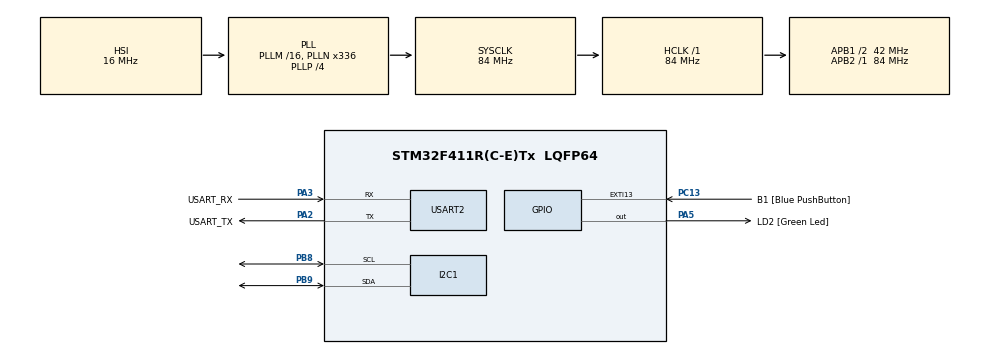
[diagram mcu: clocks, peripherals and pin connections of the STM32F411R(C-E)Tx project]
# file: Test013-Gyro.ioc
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Mcu.Family=STM32F4
Mcu.Name=STM32F411R(C-E)Tx
Mcu.Package=LQFP64
NVIC.PriorityGroup=NVIC_PRIORITYGROUP_0
PA13.GPIO_Label=TMS
PA13.Mode=Serial_Wire
PA13.Signal=SYS_JTMS-SWDIO
PA14.GPIO_Label=TCK
PA14.Mode=Serial_Wire
PA14.Signal=SYS_JTCK-SWCLK
PA2.GPIO_Label=USART_TX
PA2.Mode=Asynchronous
PA2.Signal=USART2_TX
PA3.GPIO_Label=USART_RX
PA3.Mode=Asynchronous
PA3.Signal=USART2_RX
PA5.GPIO_Label=LD2 [Green Led]
PA5.Signal=GPIO_Output
PB3.GPIO_Label=SWO
PB3.Signal=SYS_JTDO-SWO
PB8.Mode=I2C
PB8.Signal=I2C1_SCL
PB9.Mode=I2C
PB9.Signal=I2C1_SDA
PC13-ANTI_TAMP.GPIO_Label=B1 [Blue PushButton]
PC13-ANTI_TAMP.GPIO_ModeDefaultEXTI=GPIO_MODE_IT_FALLING
PC13-ANTI_TAMP.Signal=GPXTI13
PC14-OSC32_IN.Mode=LSE-External-Oscillator
PC14-OSC32_IN.Signal=RCC_OSC32_IN
PC15-OSC32_OUT.Mode=LSE-External-Oscillator
PC15-OSC32_OUT.Signal=RCC_OSC32_OUT
PH0\ -\ OSC_IN.Mode=HSE-External-Clock-Source
PH0\ -\ OSC_IN.Signal=RCC_OSC_IN
PH1\ -\ OSC_OUT.Mode=HSE-External-Clock-Source
PH1\ -\ OSC_OUT.Signal=RCC_OSC_OUT
ProjectManager.HeapSize=0x200
ProjectManager.StackSize=0x400
ProjectManager.TargetToolchain=STM32CubeIDE
RCC.48MHZClocksFreq_Value=84000000
RCC.AHBFreq_Value=84000000
RCC.APB1CLKDivider=RCC_HCLK_DIV2
RCC.APB1Freq_Value=42000000
RCC.APB1TimFreq_Value=84000000
RCC.APB2Freq_Value=84000000
RCC.APB2TimFreq_Value=84000000
RCC.CortexFreq_Value=84000000
RCC.FLatency-AdvancedSettings=FLASH_LATENCY_2
RCC.HCLKFreq_Value=84000000
RCC.HSE_VALUE=8000000
RCC.HSI_VALUE=16000000
RCC.PLLN=336
RCC.PLLP=RCC_PLLP_DIV4
RCC.SYSCLKFreq_VALUE=84000000
RCC.SYSCLKSource=RCC_SYSCLKSOURCE_PLLCLK
RCC.VCOOutputFreq_Value=336000000
USART2.VirtualMode=VM_ASYNC
board=NUCLEO-F411RE

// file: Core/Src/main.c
/* USER CODE BEGIN Header */
/**
  ******************************************************************************
  * @file           : main.c
  * @brief          : Main program body
  ******************************************************************************
  * @attention
  *
  * Copyright (c) 2025 STMicroelectronics.
  * All rights reserved.
  *
  * This software is licensed under terms that can be found in the LICENSE file
  * in the root directory of this software component.
  * If no LICENSE file comes with this software, it is provided AS-IS.
  *
  ******************************************************************************
  */
/* USER CODE END Header */
#include "main.h"

I2C_HandleTypeDef hi2c1;

UART_HandleTypeDef huart2;

void SystemClock_Config(void);
static void MX_GPIO_Init(void);
static void MX_USART2_UART_Init(void);
static void MX_I2C1_Init(void);

int main(void)
{

  /* MCU Configuration--------------------------------------------------------*/

  /* Reset of all peripherals, Initializes the Flash interface and the Systick. */
  HAL_Init();

  /* Configure the system clock */
  SystemClock_Config();

  /* Initialize all configured peripherals */
  MX_GPIO_Init();
  MX_USART2_UART_Init();
  MX_I2C1_Init();
  /* USER CODE BEGIN 2 */

  uint16_t GY6500 = 0xD0;
  unsigned char whoami;
  ProgramStart("Gyroscope GY-6500 Test");
  i2c_init(&hi2c1);
  i2c_scan(); // GY-6500 : 0xD0
//HAL_I2C_Mem_Read(I2C_HandleTypeDef *, DevAddress, MemAddress, MemAddSize, *pData, Size, Timeout)
  HAL_I2C_Mem_Read(&hi2c1, GY6500, 0x75, 1, &whoami, 1, 1000);
  printf("GY-6500 (WHO_AM_I) info : %02x\r\n", whoami);
  HAL_I2C_Mem_Read(&hi2c1, 0x4e, 0x75, 1, &whoami, 1, 1000);
  printf("LCD1602 (WHO_AM_I) info : %02x\r\n", whoami);

  // MPU-6500 Initial Config
  unsigned char Data;
  Data = 0; // PWR_MGMT_1(0x6B) = 0
  HAL_I2C_Mem_Write(&hi2c1, GY6500, 0x6B, 1, &Data, 1, 1000);
  Data = 7; // SMPLRT_DIV (0x19) = 7,  1 KHz sampling rate
  HAL_I2C_Mem_Write(&hi2c1, GY6500, 0x19, 1, &Data, 1, 1000);
  Data = 0; // CONFIG(0x1A) = 0
  HAL_I2C_Mem_Write(&hi2c1, GY6500, 0x1A, 1, &Data, 1, 1000);
  Data = 0x18; // GYRO_CONFIG(0x1B) = 0
  HAL_I2C_Mem_Write(&hi2c1, GY6500, 0x1B, 1, &Data, 1, 1000);
  Data = 0; // ACCEL_CONFIG(0x1C) = 0
  HAL_I2C_Mem_Write(&hi2c1, GY6500, 0x1C, 1, &Data, 1, 1000);

  /* USER CODE END 2 */

  /* Infinite loop */
  /* USER CODE BEGIN WHILE */
  unsigned char acc[6];
  while (1)
  {
	// ACCEL Data READ : 0x3B  XH-XL-YH-YL-ZH-ZL
	  HAL_I2C_Mem_Read(&hi2c1, GY6500, 0x3B, 1, acc, 6, 1000);
	  int acc_x = acc[0] * 256 + acc[1];
	  int acc_y = acc[2] * 256 + acc[3];
	  int acc_z = acc[4] * 256 + acc[5];

	  printf("accX:%d  accY:%d  accZ:%d\r\n",acc_x,acc_y,acc_z);
	  HAL_Delay(100);

    /* USER CODE END WHILE */

  }
}

void SystemClock_Config(void)
{
  RCC_OscInitTypeDef RCC_OscInitStruct = {0};
  RCC_ClkInitTypeDef RCC_ClkInitStruct = {0};

  /** Configure the main internal regulator output voltage
  */
  __HAL_RCC_PWR_CLK_ENABLE();
  __HAL_PWR_VOLTAGESCALING_CONFIG(PWR_REGULATOR_VOLTAGE_SCALE1);

  /** Initializes the RCC Oscillators according to the specified parameters
  * in the RCC_OscInitTypeDef structure.
  */
  RCC_OscInitStruct.OscillatorType = RCC_OSCILLATORTYPE_HSI;
  RCC_OscInitStruct.HSIState = RCC_HSI_ON;
  RCC_OscInitStruct.HSICalibrationValue = RCC_HSICALIBRATION_DEFAULT;
  RCC_OscInitStruct.PLL.PLLState = RCC_PLL_ON;
  RCC_OscInitStruct.PLL.PLLSource = RCC_PLLSOURCE_HSI;
  RCC_OscInitStruct.PLL.PLLM = 16;
  RCC_OscInitStruct.PLL.PLLN = 336;
  RCC_OscInitStruct.PLL.PLLP = RCC_PLLP_DIV4;
  RCC_OscInitStruct.PLL.PLLQ = 4;
  if (HAL_RCC_OscConfig(&RCC_OscInitStruct) != HAL_OK)
  {
    Error_Handler();
  }

  /** Initializes the CPU, AHB and APB buses clocks
  */
  RCC_ClkInitStruct.ClockType = RCC_CLOCKTYPE_HCLK|RCC_CLOCKTYPE_SYSCLK
                              |RCC_CLOCKTYPE_PCLK1|RCC_CLOCKTYPE_PCLK2;
  RCC_ClkInitStruct.SYSCLKSource = RCC_SYSCLKSOURCE_PLLCLK;
  RCC_ClkInitStruct.AHBCLKDivider = RCC_SYSCLK_DIV1;
  RCC_ClkInitStruct.APB1CLKDivider = RCC_HCLK_DIV2;
  RCC_ClkInitStruct.APB2CLKDivider = RCC_HCLK_DIV1;

  if (HAL_RCC_ClockConfig(&RCC_ClkInitStruct, FLASH_LATENCY_2) != HAL_OK)
  {
    Error_Handler();
  }
}

static void MX_I2C1_Init(void)
{

  hi2c1.Instance = I2C1;
  hi2c1.Init.ClockSpeed = 100000;
  hi2c1.Init.DutyCycle = I2C_DUTYCYCLE_2;
  hi2c1.Init.OwnAddress1 = 0;
  hi2c1.Init.AddressingMode = I2C_ADDRESSINGMODE_7BIT;
  hi2c1.Init.DualAddressMode = I2C_DUALADDRESS_DISABLE;
  hi2c1.Init.OwnAddress2 = 0;
  hi2c1.Init.GeneralCallMode = I2C_GENERALCALL_DISABLE;
  hi2c1.Init.NoStretchMode = I2C_NOSTRETCH_DISABLE;
  if (HAL_I2C_Init(&hi2c1) != HAL_OK)
  {
    Error_Handler();
  }

}

static void MX_USART2_UART_Init(void)
{

  huart2.Instance = USART2;
  huart2.Init.BaudRate = 115200;
  huart2.Init.WordLength = UART_WORDLENGTH_8B;
  huart2.Init.StopBits = UART_STOPBITS_1;
  huart2.Init.Parity = UART_PARITY_NONE;
  huart2.Init.Mode = UART_MODE_TX_RX;
  huart2.Init.HwFlowCtl = UART_HWCONTROL_NONE;
  huart2.Init.OverSampling = UART_OVERSAMPLING_16;
  if (HAL_UART_Init(&huart2) != HAL_OK)
  {
    Error_Handler();
  }

}

static void MX_GPIO_Init(void)
{
  GPIO_InitTypeDef GPIO_InitStruct = {0};

  /* GPIO Ports Clock Enable */
  __HAL_RCC_GPIOC_CLK_ENABLE();
  __HAL_RCC_GPIOH_CLK_ENABLE();
  __HAL_RCC_GPIOA_CLK_ENABLE();
  __HAL_RCC_GPIOB_CLK_ENABLE();

  /*Configure GPIO pin Output Level */
  HAL_GPIO_WritePin(LD2_GPIO_Port, LD2_Pin, GPIO_PIN_RESET);

  /*Configure GPIO pin : B1_Pin */
  GPIO_InitStruct.Pin = B1_Pin;
  GPIO_InitStruct.Mode = GPIO_MODE_IT_FALLING;
  GPIO_InitStruct.Pull = GPIO_NOPULL;
  HAL_GPIO_Init(B1_GPIO_Port, &GPIO_InitStruct);

  /*Configure GPIO pin : LD2_Pin */
  GPIO_InitStruct.Pin = LD2_Pin;
  GPIO_InitStruct.Mode = GPIO_MODE_OUTPUT_PP;
  GPIO_InitStruct.Pull = GPIO_NOPULL;
  GPIO_InitStruct.Speed = GPIO_SPEED_FREQ_LOW;
  HAL_GPIO_Init(LD2_GPIO_Port, &GPIO_InitStruct);

}

void Error_Handler(void)
{
  __disable_irq();
  while (1)
  {
  }
}
